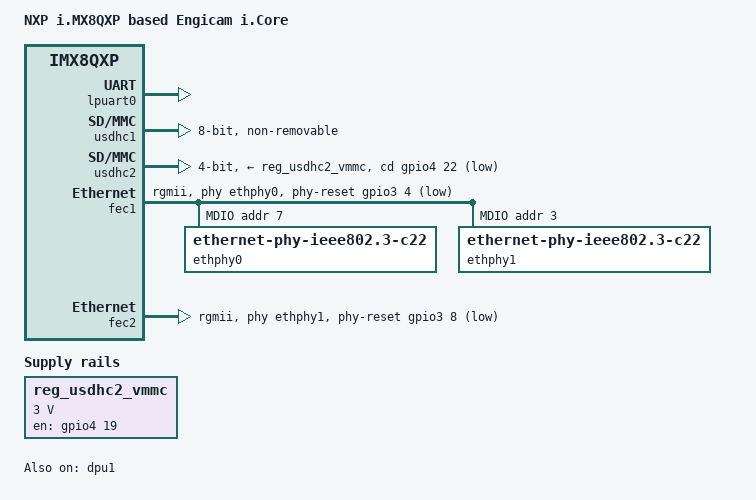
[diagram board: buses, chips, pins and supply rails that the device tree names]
// SPDX-License-Identifier: GPL-2.0+
/*
 * Copyright 2017-2018 NXP
 */

/dts-v1/;

#include "fsl-imx8qxp.dtsi"

/ {
	model = "NXP i.MX8QXP based Engicam i.Core";
	compatible = "fsl,imx8qxp-icore", "fsl,imx8qxp";

	chosen {
		bootargs = "console=ttyLP0,115200 earlycon";
		stdout-path = &lpuart0;
	};

	regulators {
		compatible = "simple-bus";
		#address-cells = <1>;
		#size-cells = <0>;

		reg_usdhc2_vmmc: regulator-usdhc2-vmmc {
			compatible = "regulator-fixed";
			regulator-name = "SD1_SPWR";
			regulator-min-microvolt = <3000000>;
			regulator-max-microvolt = <3000000>;
			gpio = <&gpio4 19 GPIO_ACTIVE_HIGH>;
			enable-active-high;
			off-on-delay-us = <3480>;
		};
	};
};

&iomuxc {
	pinctrl-names = "default";
	pinctrl-0 = <&pinctrl_hog>;

	imx8qxp-mek {
		pinctrl_hog: hoggrp {
			fsl,pins = <
				SC_P_MCLK_OUT0_ADMA_ACM_MCLK_OUT0	0x0600004c
				SC_P_COMP_CTL_GPIO_1V8_3V3_GPIORHB_PAD	0x000514a0
			>;
		};

		pinctrl_fec1: fec1grp {
			fsl,pins = <
				SC_P_COMP_CTL_GPIO_1V8_3V3_ENET_ENETB0_PAD	0x000014a0
				SC_P_COMP_CTL_GPIO_1V8_3V3_ENET_ENETB1_PAD	0x000014a0
				SC_P_ENET0_MDC_CONN_ENET0_MDC			0x06000020
				SC_P_ENET0_MDIO_CONN_ENET0_MDIO			0x06000020
				SC_P_ENET0_RGMII_TX_CTL_CONN_ENET0_RGMII_TX_CTL	0x06000020
				SC_P_ENET0_RGMII_TXC_CONN_ENET0_RGMII_TXC	0x06000020
				SC_P_ENET0_RGMII_TXD0_CONN_ENET0_RGMII_TXD0	0x06000020
				SC_P_ENET0_RGMII_TXD1_CONN_ENET0_RGMII_TXD1	0x06000020
				SC_P_ENET0_RGMII_TXD2_CONN_ENET0_RGMII_TXD2	0x06000020
				SC_P_ENET0_RGMII_TXD3_CONN_ENET0_RGMII_TXD3	0x06000020
				SC_P_ENET0_RGMII_RXC_CONN_ENET0_RGMII_RXC	0x06000020
				SC_P_ENET0_RGMII_RX_CTL_CONN_ENET0_RGMII_RX_CTL	0x06000020
				SC_P_ENET0_RGMII_RXD0_CONN_ENET0_RGMII_RXD0	0x06000020
				SC_P_ENET0_RGMII_RXD1_CONN_ENET0_RGMII_RXD1	0x06000020
				SC_P_ENET0_RGMII_RXD2_CONN_ENET0_RGMII_RXD2	0x06000020
				SC_P_ENET0_RGMII_RXD3_CONN_ENET0_RGMII_RXD3	0x06000020
				SC_P_MIPI_CSI0_MCLK_OUT_LSIO_GPIO3_IO04 0x06000020
			>;
		};

		pinctrl_fec2: fec2grp {
			fsl,pins = <
				SC_P_ESAI0_SCKR_CONN_ENET1_RGMII_TX_CTL		0x00000060
				SC_P_ESAI0_FSR_CONN_ENET1_RGMII_TXC		0x00000060
				SC_P_ESAI0_TX4_RX1_CONN_ENET1_RGMII_TXD0	0x00000060
				SC_P_ESAI0_TX5_RX0_CONN_ENET1_RGMII_TXD1	0x00000060
				SC_P_ESAI0_FST_CONN_ENET1_RGMII_TXD2		0x00000060
				SC_P_ESAI0_SCKT_CONN_ENET1_RGMII_TXD3		0x00000060
				SC_P_ESAI0_TX0_CONN_ENET1_RGMII_RXC		0x00000060
				SC_P_SPDIF0_TX_CONN_ENET1_RGMII_RX_CTL		0x00000060
				SC_P_SPDIF0_RX_CONN_ENET1_RGMII_RXD0		0x00000060
				SC_P_ESAI0_TX3_RX2_CONN_ENET1_RGMII_RXD1	0x00000060
				SC_P_ESAI0_TX2_RX3_CONN_ENET1_RGMII_RXD2	0x00000060
				SC_P_ESAI0_TX1_CONN_ENET1_RGMII_RXD3		0x00000060
				SC_P_MIPI_CSI0_GPIO0_00_LSIO_GPIO3_IO08 0x06000020
			>;
		};

		pinctrl_lpi2c1: lpi2c1grp {
			fsl,pins = <
				SC_P_USB_SS3_TC1_ADMA_I2C1_SCL	0x06000021
				SC_P_USB_SS3_TC3_ADMA_I2C1_SDA	0x06000021
			>;
		};

		pinctrl_lpuart0: lpuart0grp {
			fsl,pins = <
				SC_P_UART0_RX_ADMA_UART0_RX	0x06000020
				SC_P_UART0_TX_ADMA_UART0_TX	0x06000020
			>;
		};

		pinctrl_usdhc1: usdhc1grp {
			fsl,pins = <
				SC_P_EMMC0_CLK_CONN_EMMC0_CLK		0x06000041
				SC_P_EMMC0_CMD_CONN_EMMC0_CMD		0x00000021
				SC_P_EMMC0_DATA0_CONN_EMMC0_DATA0	0x00000021
				SC_P_EMMC0_DATA1_CONN_EMMC0_DATA1	0x00000021
				SC_P_EMMC0_DATA2_CONN_EMMC0_DATA2	0x00000021
				SC_P_EMMC0_DATA3_CONN_EMMC0_DATA3	0x00000021
				SC_P_EMMC0_DATA4_CONN_EMMC0_DATA4	0x00000021
				SC_P_EMMC0_DATA5_CONN_EMMC0_DATA5	0x00000021
				SC_P_EMMC0_DATA6_CONN_EMMC0_DATA6	0x00000021
				SC_P_EMMC0_DATA7_CONN_EMMC0_DATA7	0x00000021
				SC_P_EMMC0_STROBE_CONN_EMMC0_STROBE	0x00000041
			>;
		};

		pinctrl_usdhc1_100mhz: usdhc1grp100mhz {
			fsl,pins = <
				SC_P_EMMC0_CLK_CONN_EMMC0_CLK		0x06000040
				SC_P_EMMC0_CMD_CONN_EMMC0_CMD		0x00000020
				SC_P_EMMC0_DATA0_CONN_EMMC0_DATA0	0x00000020
				SC_P_EMMC0_DATA1_CONN_EMMC0_DATA1	0x00000020
				SC_P_EMMC0_DATA2_CONN_EMMC0_DATA2	0x00000020
				SC_P_EMMC0_DATA3_CONN_EMMC0_DATA3	0x00000020
				SC_P_EMMC0_DATA4_CONN_EMMC0_DATA4	0x00000020
				SC_P_EMMC0_DATA5_CONN_EMMC0_DATA5	0x00000020
				SC_P_EMMC0_DATA6_CONN_EMMC0_DATA6	0x00000020
				SC_P_EMMC0_DATA7_CONN_EMMC0_DATA7	0x00000020
				SC_P_EMMC0_STROBE_CONN_EMMC0_STROBE	0x06000040
			>;
		};

		pinctrl_usdhc1_200mhz: usdhc1grp200mhz {
			fsl,pins = <
				SC_P_EMMC0_CLK_CONN_EMMC0_CLK		0x06000040
				SC_P_EMMC0_CMD_CONN_EMMC0_CMD		0x00000020
				SC_P_EMMC0_DATA0_CONN_EMMC0_DATA0	0x00000020
				SC_P_EMMC0_DATA1_CONN_EMMC0_DATA1	0x00000020
				SC_P_EMMC0_DATA2_CONN_EMMC0_DATA2	0x00000020
				SC_P_EMMC0_DATA3_CONN_EMMC0_DATA3	0x00000020
				SC_P_EMMC0_DATA4_CONN_EMMC0_DATA4	0x00000020
				SC_P_EMMC0_DATA5_CONN_EMMC0_DATA5	0x00000020
				SC_P_EMMC0_DATA6_CONN_EMMC0_DATA6	0x00000020
				SC_P_EMMC0_DATA7_CONN_EMMC0_DATA7	0x00000020
				SC_P_EMMC0_STROBE_CONN_EMMC0_STROBE	0x06000040
			>;
		};


		pinctrl_usdhc2_gpio: usdhc2gpiogrp {
			fsl,pins = <
				SC_P_USDHC1_RESET_B_LSIO_GPIO4_IO19	0x00000021
				SC_P_USDHC1_WP_LSIO_GPIO4_IO21		0x00000021
				SC_P_USDHC1_CD_B_LSIO_GPIO4_IO22	0x00000021
			>;
		};

		pinctrl_usdhc2: usdhc2grp {
			fsl,pins = <
				SC_P_USDHC1_CLK_CONN_USDHC1_CLK		0x06000041
				SC_P_USDHC1_CMD_CONN_USDHC1_CMD		0x00000021
				SC_P_USDHC1_DATA0_CONN_USDHC1_DATA0	0x00000021
				SC_P_USDHC1_DATA1_CONN_USDHC1_DATA1	0x00000021
				SC_P_USDHC1_DATA2_CONN_USDHC1_DATA2	0x00000021
				SC_P_USDHC1_DATA3_CONN_USDHC1_DATA3	0x00000021
				SC_P_USDHC1_VSELECT_CONN_USDHC1_VSELECT	0x00000021
			>;
		};
	};
};

&A35_0 {
	u-boot,dm-pre-reloc;
};

&lpuart0 {
	pinctrl-names = "default";
	pinctrl-0 = <&pinctrl_lpuart0>;
	status = "okay";
};

&gpio0 {
	status = "okay";
};

&gpio1 {
	status = "okay";
};

&gpio3 {
	status = "okay";
};

&gpio4 {
	status = "okay";
};

&usdhc1 {
	pinctrl-names = "default", "state_100mhz", "state_200mhz";
	pinctrl-0 = <&pinctrl_usdhc1>;
	pinctrl-1 = <&pinctrl_usdhc1_100mhz>;
	pinctrl-2 = <&pinctrl_usdhc1_200mhz>;
	bus-width = <8>;
	non-removable;
	status = "okay";
};

&usdhc2 {
	pinctrl-names = "default", "state_100mhz", "state_200mhz";
	pinctrl-0 = <&pinctrl_usdhc2>, <&pinctrl_usdhc2_gpio>;
	pinctrl-1 = <&pinctrl_usdhc2>, <&pinctrl_usdhc2_gpio>;
	pinctrl-2 = <&pinctrl_usdhc2>, <&pinctrl_usdhc2_gpio>;
	bus-width = <4>;
	cd-gpios = <&gpio4 22 GPIO_ACTIVE_LOW>;
	vmmc-supply = <&reg_usdhc2_vmmc>;
	no-1-8-v;
	status = "okay";
};

&fec1 {
	pinctrl-names = "default";
	pinctrl-0 = <&pinctrl_fec1>;
	phy-mode = "rgmii";
	phy-handle = <&ethphy0>;
	fsl,magic-packet;
	status = "okay";
	phy-reset-gpios = <&gpio3 4 GPIO_ACTIVE_LOW>;
	phy-reset-duration = <10>;
	phy-reset-post-delay = <150>;

	mdio {
		#address-cells = <1>;
		#size-cells = <0>;

		ethphy0: ethernet-phy@7 {
			compatible = "ethernet-phy-ieee802.3-c22";
			max-speed = <100>;
			reg = <7>;
		};

		ethphy1: ethernet-phy@3 {
			compatible = "ethernet-phy-ieee802.3-c22";
			reg = <3>;
		};
	};
};

&fec2 {
	pinctrl-names = "default";
	pinctrl-0 = <&pinctrl_fec2>;
	phy-mode = "rgmii";
	phy-handle = <&ethphy1>;
	fsl,magic-packet;
	status = "okay";
	phy-reset-gpios = <&gpio3 8 GPIO_ACTIVE_LOW>;
	phy-reset-duration = <10>;
	phy-reset-post-delay = <150>;
};

&dpu1 {
	status = "okay";
};




